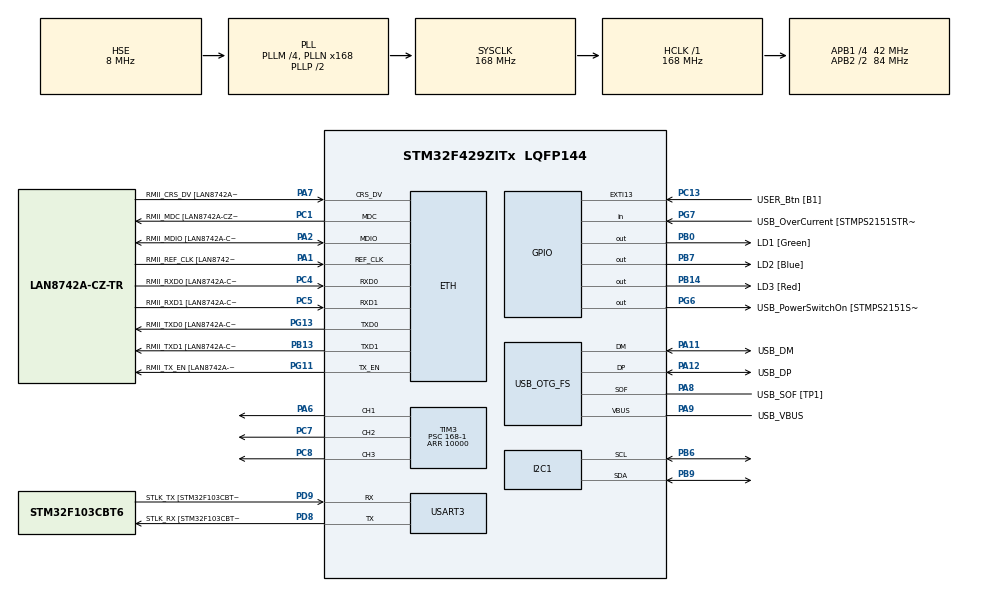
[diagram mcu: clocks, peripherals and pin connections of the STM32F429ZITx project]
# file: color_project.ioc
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ETH.MediaInterface=HAL_ETH_RMII_MODE
ETH.PHY_Name=LAN8742A_PHY_ADDRESS
ETH.PHY_Value=0
ETH.PhyAddress=0
Mcu.Family=STM32F4
Mcu.Name=STM32F429ZITx
Mcu.Package=LQFP144
NVIC.EXTI15_10_IRQn=true\:0\:0\:false\:false\:true\:true\:true\:true
NVIC.PriorityGroup=NVIC_PRIORITYGROUP_4
PA1.GPIO_Label=RMII_REF_CLK [LAN8742A-CZ-TR_REFCLK0]
PA1.Mode=RMII
PA1.Signal=ETH_REF_CLK
PA10.GPIO_Label=USB_ID
PA10.Signal=USB_OTG_FS_ID
PA11.GPIO_Label=USB_DM
PA11.Mode=Device_Only
PA11.Signal=USB_OTG_FS_DM
PA12.GPIO_Label=USB_DP
PA12.Mode=Device_Only
PA12.Signal=USB_OTG_FS_DP
PA13.GPIO_Label=TMS
PA13.Mode=Serial_Wire
PA13.Signal=SYS_JTMS-SWDIO
PA14.GPIO_Label=TCK
PA14.Mode=Serial_Wire
PA14.Signal=SYS_JTCK-SWCLK
PA2.GPIO_Label=RMII_MDIO [LAN8742A-CZ-TR_MDIO]
PA2.Mode=RMII
PA2.Signal=ETH_MDIO
PA6.Signal=S_TIM3_CH1
PA7.GPIO_Label=RMII_CRS_DV [LAN8742A-CZ-TR_CRS_DV]
PA7.Mode=RMII
PA7.Signal=ETH_CRS_DV
PA8.GPIO_Label=USB_SOF [TP1]
PA8.Mode=Activate_SOF_FS
PA8.Signal=USB_OTG_FS_SOF
PA9.GPIO_Label=USB_VBUS
PA9.Mode=Activate_VBUS
PA9.Signal=USB_OTG_FS_VBUS
PB0.GPIO_Label=LD1 [Green]
PB0.Signal=GPIO_Output
PB13.GPIO_Label=RMII_TXD1 [LAN8742A-CZ-TR_TXD1]
PB13.Mode=RMII
PB13.Signal=ETH_TXD1
PB14.GPIO_Label=LD3 [Red]
PB14.Signal=GPIO_Output
PB6.Mode=I2C
PB6.Signal=I2C1_SCL
PB7.GPIO_Label=LD2 [Blue]
PB7.Signal=GPIO_Output
PB9.Mode=I2C
PB9.Signal=I2C1_SDA
PC1.GPIO_Label=RMII_MDC [LAN8742A-CZ-TR_MDC]
PC1.Mode=RMII
PC1.Signal=ETH_MDC
PC13.GPIO_Label=USER_Btn [B1]
PC13.Signal=GPXTI13
PC14/OSC32_IN.Mode=LSE-External-Oscillator
PC14/OSC32_IN.Signal=RCC_OSC32_IN
PC15/OSC32_OUT.Mode=LSE-External-Oscillator
PC15/OSC32_OUT.Signal=RCC_OSC32_OUT
PC4.GPIO_Label=RMII_RXD0 [LAN8742A-CZ-TR_RXD0]
PC4.Mode=RMII
PC4.Signal=ETH_RXD0
PC5.GPIO_Label=RMII_RXD1 [LAN8742A-CZ-TR_RXD1]
PC5.Mode=RMII
PC5.Signal=ETH_RXD1
PC7.Signal=S_TIM3_CH2
PC8.Signal=S_TIM3_CH3
PD8.GPIO_Label=STLK_RX [STM32F103CBT6_PA3]
PD8.Mode=Asynchronous
PD8.Signal=USART3_TX
PD9.GPIO_Label=STLK_TX [STM32F103CBT6_PA2]
PD9.Mode=Asynchronous
PD9.Signal=USART3_RX
PG11.GPIO_Label=RMII_TX_EN [LAN8742A-CZ-TR_TXEN]
PG11.Mode=RMII
PG11.Signal=ETH_TX_EN
PG13.GPIO_Label=RMII_TXD0 [LAN8742A-CZ-TR_TXD0]
PG13.Mode=RMII
PG13.Signal=ETH_TXD0
PG6.GPIO_Label=USB_PowerSwitchOn [STMPS2151STR_EN]
PG6.Signal=GPIO_Output
PG7.GPIO_Label=USB_OverCurrent [STMPS2151STR_FAULT]
PG7.Signal=GPIO_Input
PH0/OSC_IN.GPIO_Label=MCO [STM32F103CBT6_PA8]
PH0/OSC_IN.Mode=HSE-External-Clock-Source
PH0/OSC_IN.Signal=RCC_OSC_IN
PH1/OSC_OUT.Mode=HSE-External-Clock-Source
PH1/OSC_OUT.Signal=RCC_OSC_OUT
ProjectManager.HeapSize=0x200
ProjectManager.StackSize=0x400
ProjectManager.TargetToolchain=STM32CubeIDE
RCC.48MHZClocksFreq_Value=48000000
RCC.AHBFreq_Value=168000000
RCC.APB1CLKDivider=RCC_HCLK_DIV4
RCC.APB1Freq_Value=42000000
RCC.APB1TimFreq_Value=84000000
RCC.APB2CLKDivider=RCC_HCLK_DIV2
RCC.APB2Freq_Value=84000000
RCC.APB2TimCLKDivider=2
RCC.APB2TimFreq_Value=168000000
RCC.CortexFreq_Value=168000000
RCC.HCLKFreq_Value=168000000
RCC.HSE_VALUE=8000000
RCC.HSI_VALUE=16000000
RCC.PLLM=4
RCC.PLLMUL=RCC_PLL_MUL9
RCC.PLLN=168
RCC.PLLQ=7
RCC.PRESCALERUSB=RCC_USBCLKSOURCE_PLL_DIV1_5
RCC.SYSCLKFreq_VALUE=168000000
RCC.SYSCLKSource=RCC_SYSCLKSOURCE_PLLCLK
RCC.SYSCLKSourceVirtual=RCC_SYSCLKSOURCE_PLLCLK
RCC.USBFreq_Value=48000000
RCC.VCOOutputFreq_Value=336000000
SH.S_TIM3_CH1.0=TIM3_CH1,PWM Generation1 CH1
SH.S_TIM3_CH2.0=TIM3_CH2,PWM Generation2 CH2
SH.S_TIM3_CH3.0=TIM3_CH3,PWM Generation3 CH3
TIM3.Channel-PWM\ Generation1\ CH1=TIM_CHANNEL_1
TIM3.Channel-PWM\ Generation2\ CH2=TIM_CHANNEL_2
TIM3.Channel-PWM\ Generation3\ CH3=TIM_CHANNEL_3
TIM3.Period=10000
TIM3.Prescaler=168-1
TIM6.Period=99
TIM6.Prescaler=1679
USART3.VirtualMode=VM_ASYNC
USB_OTG_FS.VirtualMode=Device_Only
VP_TIM3_VS_ClockSourceINT.Mode=Internal
VP_TIM6_VS_ClockSourceINT.Mode=Enable_Timer
board=NUCLEO-F429ZI

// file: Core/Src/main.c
/* USER CODE BEGIN Header */
/**
  ******************************************************************************
  * @file           : main.c
  * @brief          : Main program body
  ******************************************************************************
  * @attention
  *
  * Copyright (c) 2022 STMicroelectronics.
  * All rights reserved.
  *
  * This software is licensed under terms that can be found in the LICENSE file
  * in the root directory of this software component.
  * If no LICENSE file comes with this software, it is provided AS-IS.
  *
  ******************************************************************************
  */
/* USER CODE END Header */
#include "main.h"
#include "string.h"

ETH_TxPacketConfig TxConfig;
ETH_DMADescTypeDef  DMARxDscrTab[ETH_RX_DESC_CNT]; /* Ethernet Rx DMA Descriptors */
ETH_DMADescTypeDef  DMATxDscrTab[ETH_TX_DESC_CNT]; /* Ethernet Tx DMA Descriptors */

 ETH_HandleTypeDef heth;

I2C_HandleTypeDef hi2c1;

TIM_HandleTypeDef htim3;
TIM_HandleTypeDef htim6;

UART_HandleTypeDef huart3;

PCD_HandleTypeDef hpcd_USB_OTG_FS;

/* USER CODE BEGIN PV */

uint8_t debugStatus = 0;
uint8_t state = 1;
Adafruit_TCS34725 tcs = Adafruit_TCS34725(TCS34725_INTEGRATIONTIME_700MS, TCS34725_GAIN_1X);

/* USER CODE END PV */

void SystemClock_Config(void);
static void MX_GPIO_Init(void);
static void MX_ETH_Init(void);
static void MX_USART3_UART_Init(void);
static void MX_USB_OTG_FS_PCD_Init(void);
static void MX_I2C1_Init(void);
static void MX_TIM6_Init(void);
static void MX_TIM3_Init(void);

/* USER CODE BEGIN 0 */
void getRawData_noDelay(uint16_t *r, uint16_t *g, uint16_t *b, uint16_t *c) {
	*c = tcs.read16(TCS34725_CDATAL);
	*r = tcs.read16(TCS34725_RDATAL);
	*g = tcs.read16(TCS34725_GDATAL);
	*b = tcs.read16(TCS34725_BDATAL);
}
/**********************************************/
int _write(int file, char *ptr, int len) {
	for(int i = 0; i < len; i++)
		ITM_SendChar((*ptr++));
	return len;
}
void traceWrite(char *ptr, int len) {
	for(int i = 0; i < len; i++)
		ITM_SendChar((*ptr++));
	return;
}
/**********************************************/
#ifdef __GNUC__
/* With GCC, small printf (option LD Linker->Libraries->Small printf
   set to 'Yes') calls __io_putchar() */
#define PUTCHAR_PROTOTYPE int __io_putchar(int ch)
#else
#define PUTCHAR_PROTOTYPE int fputc(int ch, FILE *f)
#endif /* __GNUC__ */

PUTCHAR_PROTOTYPE
{
  /* Place your implementation of fputc here */
  /* e.g. write a character to the USART1 and Loop until the end of transmission */
  HAL_UART_Transmit(&huart3, (uint8_t *)&ch, 1, 0xFFFF);

  return ch;
}

/* USER CODE END 0 */

int main(void)
{

  /* MCU Configuration--------------------------------------------------------*/

  /* Reset of all peripherals, Initializes the Flash interface and the Systick. */
  HAL_Init();

  /* Configure the system clock */
  SystemClock_Config();

  /* Initialize all configured peripherals */
  MX_GPIO_Init();
  MX_ETH_Init();
  MX_USART3_UART_Init();
  MX_USB_OTG_FS_PCD_Init();
  MX_I2C1_Init();
  MX_TIM6_Init();
  MX_TIM3_Init();
  /* USER CODE BEGIN 2 */

  HAL_TIM_Base_Start(&htim6);
  if(tcs.begin()) debugStatus = 0x55;
  else {
	  debugStatus = 0xAA;
	  while(1);
  }

  tcs.write8(TCS34725_PERS, TCS34725_PERS_NONE);
  tcs.setInterrupt(true);

  /*int clock = SystemCoreClock;
    char txt[20] = {0};
    snprintf(txt, 20, "clock = %d\n", clock);
    traceWrite(txt, 20);*/

    uint16_t r, g, b, c, colorTemp, lux;
  /* USER CODE END 2 */

  /* Infinite loop */
  /* USER CODE BEGIN WHILE */
  while (1)
  {
	  printf("HELLO\n");
//	  if(state == 1) {
//		  state = 0;
//		  uint16_t r, g, b, c, colorTemp, lux;
	  	  getRawData_noDelay(&r, &g, &b, &c);
	  	  colorTemp = tcs.calculateColorTemperature(r, g, b);
	  	  lux = tcs.calculateLux(r, g, b);
	  	  char txt[80] = {0};
//	  	  snprintf(txt, 80, "R : %d, G : %d, B : %d, C : %d\n", r, g, b, c);
//	  	  traceWrite(txt, 80);

	  	  sprintf(txt, "%d:%d:%dL\n", r, g, b);

	  	  tcs.clearInterrupt();
	  	  printf("%s", txt);
//	  }
	  HAL_Delay(1000);
    /* USER CODE END WHILE */

  }
}

void SystemClock_Config(void)
{
  RCC_OscInitTypeDef RCC_OscInitStruct = {0};
  RCC_ClkInitTypeDef RCC_ClkInitStruct = {0};

  /** Configure the main internal regulator output voltage
  */
  __HAL_RCC_PWR_CLK_ENABLE();
  __HAL_PWR_VOLTAGESCALING_CONFIG(PWR_REGULATOR_VOLTAGE_SCALE1);

  /** Initializes the RCC Oscillators according to the specified parameters
  * in the RCC_OscInitTypeDef structure.
  */
  RCC_OscInitStruct.OscillatorType = RCC_OSCILLATORTYPE_HSE;
  RCC_OscInitStruct.HSEState = RCC_HSE_BYPASS;
  RCC_OscInitStruct.PLL.PLLState = RCC_PLL_ON;
  RCC_OscInitStruct.PLL.PLLSource = RCC_PLLSOURCE_HSE;
  RCC_OscInitStruct.PLL.PLLM = 4;
  RCC_OscInitStruct.PLL.PLLN = 168;
  RCC_OscInitStruct.PLL.PLLP = RCC_PLLP_DIV2;
  RCC_OscInitStruct.PLL.PLLQ = 7;
  if (HAL_RCC_OscConfig(&RCC_OscInitStruct) != HAL_OK)
  {
    Error_Handler();
  }

  /** Initializes the CPU, AHB and APB buses clocks
  */
  RCC_ClkInitStruct.ClockType = RCC_CLOCKTYPE_HCLK|RCC_CLOCKTYPE_SYSCLK
                              |RCC_CLOCKTYPE_PCLK1|RCC_CLOCKTYPE_PCLK2;
  RCC_ClkInitStruct.SYSCLKSource = RCC_SYSCLKSOURCE_PLLCLK;
  RCC_ClkInitStruct.AHBCLKDivider = RCC_SYSCLK_DIV1;
  RCC_ClkInitStruct.APB1CLKDivider = RCC_HCLK_DIV4;
  RCC_ClkInitStruct.APB2CLKDivider = RCC_HCLK_DIV2;

  if (HAL_RCC_ClockConfig(&RCC_ClkInitStruct, FLASH_LATENCY_5) != HAL_OK)
  {
    Error_Handler();
  }
}

static void MX_ETH_Init(void)
{

   static uint8_t MACAddr[6];

  heth.Instance = ETH;
  MACAddr[0] = 0x00;
  MACAddr[1] = 0x80;
  MACAddr[2] = 0xE1;
  MACAddr[3] = 0x00;
  MACAddr[4] = 0x00;
  MACAddr[5] = 0x00;
  heth.Init.MACAddr = &MACAddr[0];
  heth.Init.MediaInterface = HAL_ETH_RMII_MODE;
  heth.Init.TxDesc = DMATxDscrTab;
  heth.Init.RxDesc = DMARxDscrTab;
  heth.Init.RxBuffLen = 1524;

  if (HAL_ETH_Init(&heth) != HAL_OK)
  {
    Error_Handler();
  }

  memset(&TxConfig, 0 , sizeof(ETH_TxPacketConfig));
  TxConfig.Attributes = ETH_TX_PACKETS_FEATURES_CSUM | ETH_TX_PACKETS_FEATURES_CRCPAD;
  TxConfig.ChecksumCtrl = ETH_CHECKSUM_IPHDR_PAYLOAD_INSERT_PHDR_CALC;
  TxConfig.CRCPadCtrl = ETH_CRC_PAD_INSERT;

}

static void MX_I2C1_Init(void)
{

  hi2c1.Instance = I2C1;
  hi2c1.Init.ClockSpeed = 100000;
  hi2c1.Init.DutyCycle = I2C_DUTYCYCLE_2;
  hi2c1.Init.OwnAddress1 = 0;
  hi2c1.Init.AddressingMode = I2C_ADDRESSINGMODE_7BIT;
  hi2c1.Init.DualAddressMode = I2C_DUALADDRESS_DISABLE;
  hi2c1.Init.OwnAddress2 = 0;
  hi2c1.Init.GeneralCallMode = I2C_GENERALCALL_DISABLE;
  hi2c1.Init.NoStretchMode = I2C_NOSTRETCH_DISABLE;
  if (HAL_I2C_Init(&hi2c1) != HAL_OK)
  {
    Error_Handler();
  }

  /** Configure Analogue filter
  */
  if (HAL_I2CEx_ConfigAnalogFilter(&hi2c1, I2C_ANALOGFILTER_ENABLE) != HAL_OK)
  {
    Error_Handler();
  }

  /** Configure Digital filter
  */
  if (HAL_I2CEx_ConfigDigitalFilter(&hi2c1, 0) != HAL_OK)
  {
    Error_Handler();
  }

}

static void MX_TIM3_Init(void)
{

  TIM_ClockConfigTypeDef sClockSourceConfig = {0};
  TIM_MasterConfigTypeDef sMasterConfig = {0};
  TIM_OC_InitTypeDef sConfigOC = {0};

  htim3.Instance = TIM3;
  htim3.Init.Prescaler = 168-1;
  htim3.Init.CounterMode = TIM_COUNTERMODE_UP;
  htim3.Init.Period = 10000;
  htim3.Init.ClockDivision = TIM_CLOCKDIVISION_DIV1;
  htim3.Init.AutoReloadPreload = TIM_AUTORELOAD_PRELOAD_DISABLE;
  if (HAL_TIM_Base_Init(&htim3) != HAL_OK)
  {
    Error_Handler();
  }
  sClockSourceConfig.ClockSource = TIM_CLOCKSOURCE_INTERNAL;
  if (HAL_TIM_ConfigClockSource(&htim3, &sClockSourceConfig) != HAL_OK)
  {
    Error_Handler();
  }
  if (HAL_TIM_PWM_Init(&htim3) != HAL_OK)
  {
    Error_Handler();
  }
  sMasterConfig.MasterOutputTrigger = TIM_TRGO_RESET;
  sMasterConfig.MasterSlaveMode = TIM_MASTERSLAVEMODE_DISABLE;
  if (HAL_TIMEx_MasterConfigSynchronization(&htim3, &sMasterConfig) != HAL_OK)
  {
    Error_Handler();
  }
  sConfigOC.OCMode = TIM_OCMODE_PWM1;
  sConfigOC.Pulse = 0;
  sConfigOC.OCPolarity = TIM_OCPOLARITY_HIGH;
  sConfigOC.OCFastMode = TIM_OCFAST_DISABLE;
  if (HAL_TIM_PWM_ConfigChannel(&htim3, &sConfigOC, TIM_CHANNEL_1) != HAL_OK)
  {
    Error_Handler();
  }
  if (HAL_TIM_PWM_ConfigChannel(&htim3, &sConfigOC, TIM_CHANNEL_2) != HAL_OK)
  {
    Error_Handler();
  }
  if (HAL_TIM_PWM_ConfigChannel(&htim3, &sConfigOC, TIM_CHANNEL_3) != HAL_OK)
  {
    Error_Handler();
  }
  HAL_TIM_MspPostInit(&htim3);

}

static void MX_TIM6_Init(void)
{

  TIM_MasterConfigTypeDef sMasterConfig = {0};

  htim6.Instance = TIM6;
  htim6.Init.Prescaler = 1679;
  htim6.Init.CounterMode = TIM_COUNTERMODE_UP;
  htim6.Init.Period = 99;
  htim6.Init.AutoReloadPreload = TIM_AUTORELOAD_PRELOAD_DISABLE;
  if (HAL_TIM_Base_Init(&htim6) != HAL_OK)
  {
    Error_Handler();
  }
  sMasterConfig.MasterOutputTrigger = TIM_TRGO_RESET;
  sMasterConfig.MasterSlaveMode = TIM_MASTERSLAVEMODE_DISABLE;
  if (HAL_TIMEx_MasterConfigSynchronization(&htim6, &sMasterConfig) != HAL_OK)
  {
    Error_Handler();
  }

}

static void MX_USART3_UART_Init(void)
{

  huart3.Instance = USART3;
  huart3.Init.BaudRate = 115200;
  huart3.Init.WordLength = UART_WORDLENGTH_8B;
  huart3.Init.StopBits = UART_STOPBITS_1;
  huart3.Init.Parity = UART_PARITY_NONE;
  huart3.Init.Mode = UART_MODE_TX_RX;
  huart3.Init.HwFlowCtl = UART_HWCONTROL_NONE;
  huart3.Init.OverSampling = UART_OVERSAMPLING_16;
  if (HAL_UART_Init(&huart3) != HAL_OK)
  {
    Error_Handler();
  }

}

static void MX_USB_OTG_FS_PCD_Init(void)
{

  hpcd_USB_OTG_FS.Instance = USB_OTG_FS;
  hpcd_USB_OTG_FS.Init.dev_endpoints = 4;
  hpcd_USB_OTG_FS.Init.speed = PCD_SPEED_FULL;
  hpcd_USB_OTG_FS.Init.dma_enable = DISABLE;
  hpcd_USB_OTG_FS.Init.phy_itface = PCD_PHY_EMBEDDED;
  hpcd_USB_OTG_FS.Init.Sof_enable = ENABLE;
  hpcd_USB_OTG_FS.Init.low_power_enable = DISABLE;
  hpcd_USB_OTG_FS.Init.lpm_enable = DISABLE;
  hpcd_USB_OTG_FS.Init.vbus_sensing_enable = ENABLE;
  hpcd_USB_OTG_FS.Init.use_dedicated_ep1 = DISABLE;
  if (HAL_PCD_Init(&hpcd_USB_OTG_FS) != HAL_OK)
  {
    Error_Handler();
  }

}

static void MX_GPIO_Init(void)
{
  GPIO_InitTypeDef GPIO_InitStruct = {0};

  /* GPIO Ports Clock Enable */
  __HAL_RCC_GPIOC_CLK_ENABLE();
  __HAL_RCC_GPIOH_CLK_ENABLE();
  __HAL_RCC_GPIOA_CLK_ENABLE();
  __HAL_RCC_GPIOB_CLK_ENABLE();
  __HAL_RCC_GPIOD_CLK_ENABLE();
  __HAL_RCC_GPIOG_CLK_ENABLE();

  /*Configure GPIO pin Output Level */
  HAL_GPIO_WritePin(GPIOB, LD1_Pin|LD3_Pin|LD2_Pin, GPIO_PIN_RESET);

  /*Configure GPIO pin Output Level */
  HAL_GPIO_WritePin(USB_PowerSwitchOn_GPIO_Port, USB_PowerSwitchOn_Pin, GPIO_PIN_RESET);

  /*Configure GPIO pin : USER_Btn_Pin */
  GPIO_InitStruct.Pin = USER_Btn_Pin;
  GPIO_InitStruct.Mode = GPIO_MODE_IT_RISING;
  GPIO_InitStruct.Pull = GPIO_NOPULL;
  HAL_GPIO_Init(USER_Btn_GPIO_Port, &GPIO_InitStruct);

  /*Configure GPIO pins : LD1_Pin LD3_Pin LD2_Pin */
  GPIO_InitStruct.Pin = LD1_Pin|LD3_Pin|LD2_Pin;
  GPIO_InitStruct.Mode = GPIO_MODE_OUTPUT_PP;
  GPIO_InitStruct.Pull = GPIO_NOPULL;
  GPIO_InitStruct.Speed = GPIO_SPEED_FREQ_LOW;
  HAL_GPIO_Init(GPIOB, &GPIO_InitStruct);

  /*Configure GPIO pin : USB_PowerSwitchOn_Pin */
  GPIO_InitStruct.Pin = USB_PowerSwitchOn_Pin;
  GPIO_InitStruct.Mode = GPIO_MODE_OUTPUT_PP;
  GPIO_InitStruct.Pull = GPIO_NOPULL;
  GPIO_InitStruct.Speed = GPIO_SPEED_FREQ_LOW;
  HAL_GPIO_Init(USB_PowerSwitchOn_GPIO_Port, &GPIO_InitStruct);

  /*Configure GPIO pin : USB_OverCurrent_Pin */
  GPIO_InitStruct.Pin = USB_OverCurrent_Pin;
  GPIO_InitStruct.Mode = GPIO_MODE_INPUT;
  GPIO_InitStruct.Pull = GPIO_NOPULL;
  HAL_GPIO_Init(USB_OverCurrent_GPIO_Port, &GPIO_InitStruct);

  /* EXTI interrupt init*/
  HAL_NVIC_SetPriority(EXTI15_10_IRQn, 0, 0);
  HAL_NVIC_EnableIRQ(EXTI15_10_IRQn);

}

void Error_Handler(void)
{
  __disable_irq();
  while (1)
  {
  }
}
